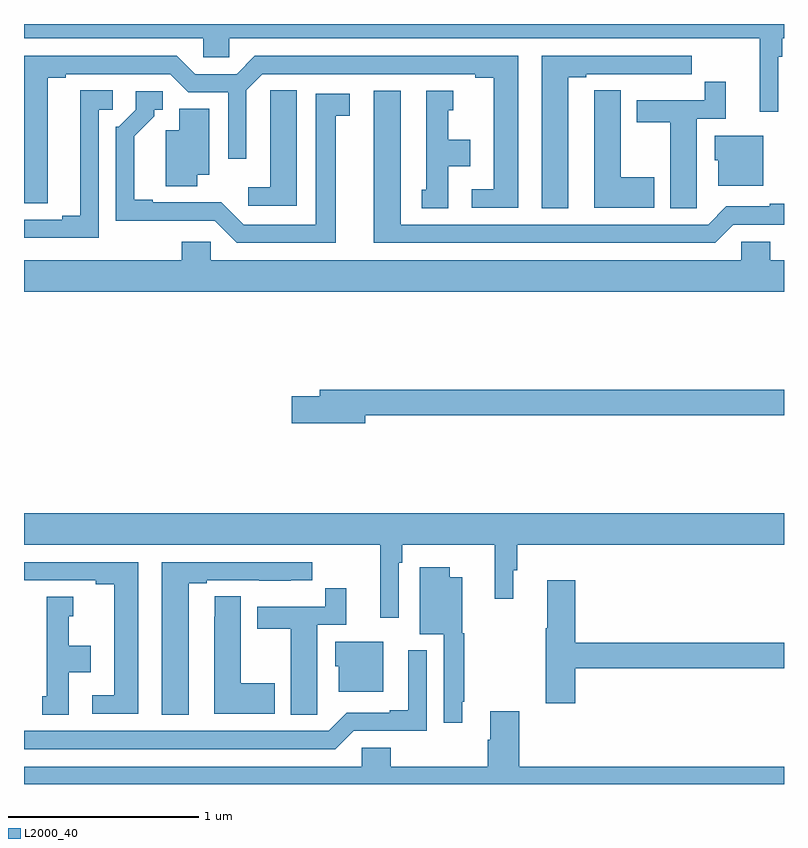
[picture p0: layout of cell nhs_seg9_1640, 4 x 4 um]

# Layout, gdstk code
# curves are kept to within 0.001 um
import gdstk
lib = gdstk.Library(unit=1e-6, precision=1e-09)
def P(c, l, *ps):  # polygons
    for p in ps: c.add(gdstk.Polygon(p, *l))
L2000_40 = (2000, 40)

nhs_seg9_1640 = lib.new_cell('nhs_seg9_1640')
P(nhs_seg9_1640, L2000_40, [(206.97,1192.328),(206.99,1192.328),(206.99,1192.424),(207,1192.424),(207,1192.5),(203,1192.5),(203,1192.424),(203.943,1192.424),(203.943,1192.326),(204.081,1192.326),(204.081,1192.424),(206.873,1192.424),(206.873,1192.038),(206.97,1192.038)],
  [(205.6,1192.332),(204.215,1192.332),(204.119,1192.236),(203.901,1192.236),(203.805,1192.332),(203,1192.332),(203,1191.556),(203.125,1191.556),(203.125,1192.216),(203.221,1192.216),(203.221,1192.236),(203.769,1192.236),(203.865,1192.14),(204.075,1192.14),(204.075,1191.792),(204.171,1191.792),(204.171,1192.152),(204.255,1192.236),(205.376,1192.236),(205.376,1192.216),(205.472,1192.216),(205.472,1191.63),(205.356,1191.63),(205.356,1191.534),(205.6,1191.534)],
  [(205.864,1192.221),(205.96,1192.221),(205.96,1192.236),(206.236,1192.236),(206.236,1192.235),(206.402,1192.235),(206.402,1192.236),(206.515,1192.236),(206.515,1192.332),(205.724,1192.332),(205.724,1191.529),(205.864,1191.529)],
  [(206.541,1191.64),(206.542,1191.64),(206.542,1192.002),(206.693,1192.002),(206.693,1192.195),(206.584,1192.195),(206.584,1192.098),(206.225,1192.098),(206.225,1191.982),(206.402,1191.982),(206.402,1191.529),(206.541,1191.529)],
  [(206.317,1191.693),(206.14,1191.693),(206.14,1192.151),(206.001,1192.151),(206.001,1192.043),(206,1192.043),(206,1191.533),(206.317,1191.533)],
  [(203.394,1192.05),(203.467,1192.05),(203.467,1192.151),(203.297,1192.151),(203.297,1191.491),(203.201,1191.491),(203.201,1191.471),(203,1191.471),(203,1191.375),(203.394,1191.375)],
  [(204.436,1192.151),(204.297,1192.151),(204.297,1192.043),(204.296,1192.043),(204.296,1191.64),(204.18,1191.64),(204.18,1191.543),(204.436,1191.543)],
  [(206.733,1191.444),(207,1191.444),(207,1191.553),(206.924,1191.553),(206.924,1191.54),(206.697,1191.54),(206.601,1191.444),(204.982,1191.444),(204.982,1192.15),(204.842,1192.15),(204.842,1191.348),(206.637,1191.348)],
  [(205.234,1191.752),(205.348,1191.752),(205.348,1191.892),(205.234,1191.892),(205.234,1192.047),(205.258,1192.047),(205.258,1192.15),(205.118,1192.15),(205.118,1191.627),(205.094,1191.627),(205.094,1191.529),(205.234,1191.529)],
  [(204.64,1192.018),(204.715,1192.018),(204.715,1192.134),(204.536,1192.134),(204.536,1191.444),(204.156,1191.444),(204.038,1191.562),(203.677,1191.561),(203.677,1191.574),(203.581,1191.574),(203.581,1191.91),(203.686,1192.015),(203.686,1192.05),(203.731,1192.05),(203.731,1192.146),(203.589,1192.146),(203.589,1192.05),(203.499,1191.96),(203.484,1191.96),(203.484,1191.464),(204.003,1191.465),(204.12,1191.348),(204.64,1191.348)],
  [(203.911,1191.707),(203.974,1191.707),(203.974,1192.055),(203.816,1192.055),(203.816,1191.94),(203.747,1191.94),(203.747,1191.646),(203.911,1191.646)],
  [(206.89,1191.913),(206.636,1191.913),(206.636,1191.783),(206.654,1191.783),(206.654,1191.65),(206.89,1191.65)],
  [(207,1191.256),(206.927,1191.256),(206.927,1191.354),(206.775,1191.354),(206.775,1191.256),(203.982,1191.256),(203.982,1191.354),(203.831,1191.354),(203.831,1191.256),(203,1191.256),(203,1191.092),(207,1191.092)],
  [(204.796,1190.44),(207,1190.44),(207,1190.576),(204.557,1190.576),(204.557,1190.54),(204.408,1190.54),(204.408,1190.398),(204.796,1190.398)],
  [(204.972,1189.664),(204.992,1189.664),(204.992,1189.76),(205.477,1189.76),(205.477,1189.476),(205.576,1189.476),(205.576,1189.626),(205.595,1189.626),(205.595,1189.76),(207,1189.76),(207,1189.924),(203,1189.924),(203,1189.76),(204.875,1189.76),(204.875,1189.374),(204.972,1189.374)],
  [(203.602,1189.668),(203,1189.668),(203,1189.572),(203.378,1189.572),(203.378,1189.552),(203.474,1189.552),(203.474,1188.966),(203.358,1188.966),(203.358,1188.87),(203.602,1188.87)],
  [(203.866,1189.557),(203.962,1189.557),(203.962,1189.572),(204.238,1189.572),(204.238,1189.571),(204.404,1189.571),(204.404,1189.572),(204.517,1189.572),(204.517,1189.668),(203.726,1189.668),(203.726,1188.865),(203.866,1188.865)],
  [(205.306,1188.934),(205.318,1188.934),(205.318,1189.293),(205.306,1189.293),(205.306,1189.588),(205.24,1189.588),(205.24,1189.642),(205.082,1189.642),(205.082,1189.289),(205.209,1189.289),(205.209,1188.822),(205.306,1188.822)],
  [(205.901,1189.108),(207,1189.108),(207,1189.244),(205.901,1189.244),(205.901,1189.573),(205.754,1189.573),(205.754,1189.321),(205.747,1189.321),(205.747,1188.924),(205.901,1188.924)],
  [(204.543,1188.976),(204.544,1188.976),(204.544,1189.338),(204.695,1189.338),(204.695,1189.531),(204.586,1189.531),(204.586,1189.434),(204.227,1189.434),(204.227,1189.318),(204.404,1189.318),(204.404,1188.865),(204.543,1188.865)],
  [(204.319,1189.029),(204.142,1189.029),(204.142,1189.487),(204.003,1189.487),(204.003,1189.379),(204.002,1189.379),(204.002,1188.869),(204.319,1188.869)],
  [(203.236,1189.088),(203.35,1189.088),(203.35,1189.228),(203.236,1189.228),(203.236,1189.383),(203.26,1189.383),(203.26,1189.486),(203.12,1189.486),(203.12,1188.963),(203.096,1188.963),(203.096,1188.865),(203.236,1188.865)],
  [(204.892,1189.249),(204.638,1189.249),(204.638,1189.119),(204.656,1189.119),(204.656,1188.986),(204.892,1188.986)],
  [(204.735,1188.78),(205.119,1188.78),(205.119,1189.204),(205.022,1189.204),(205.022,1188.889),(204.926,1188.889),(204.926,1188.876),(204.699,1188.876),(204.603,1188.78),(203,1188.78),(203,1188.684),(204.639,1188.684)],
  [(207,1188.592),(205.607,1188.592),(205.607,1188.883),(205.454,1188.883),(205.454,1188.734),(205.442,1188.734),(205.442,1188.592),(204.929,1188.592),(204.929,1188.69),(204.777,1188.69),(204.777,1188.592),(203,1188.592),(203,1188.5),(207,1188.5)])

lib.write_gds('nhs_seg9_1640.gds')
